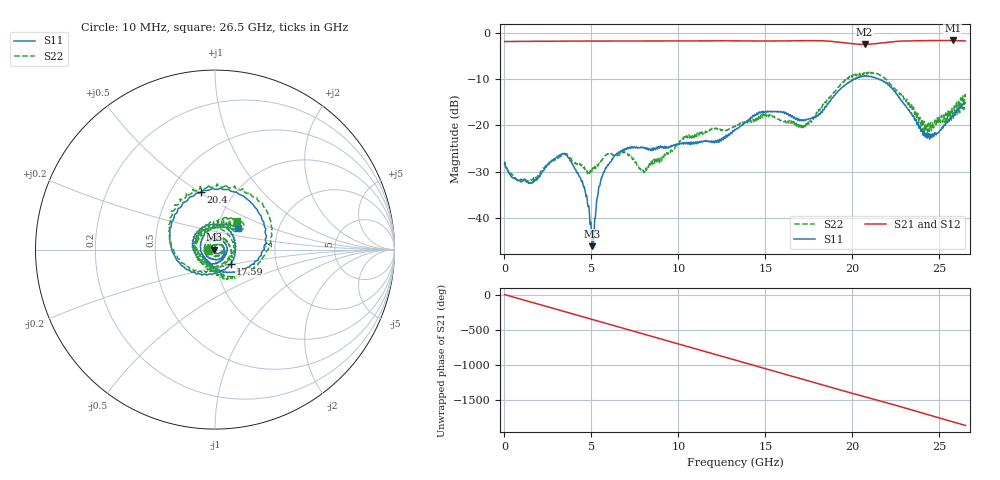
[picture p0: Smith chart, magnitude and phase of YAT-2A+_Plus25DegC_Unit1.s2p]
!Keysight Technologies,N5242A,MY48320679,A.10.49.08
!Date: Tuesday, April 23, 2019 15:10:27
!Correction: S11(Full 2 Port(1,2))
!S21(Full 2 Port(1,2))
!S12(Full 2 Port(1,2))
!S22(Full 2 Port(1,2))
!S2P File: Measurements: S11, S21, S12, S22:
# Hz S  dB  R 50
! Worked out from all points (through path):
!   2650 points, 10 MHz to 26.5 GHz, reference 50 ohm
!   highest |S21| = -1.69 dB at 25.77 GHz (marker M1); lowest = -2.5 dB at 20.7 GHz (marker M2)
!   group delay of S21, straight-line fit = 195 ps
!   lowest |S11| = -46.0 dB at 5.06 GHz (marker M3), VSWR 1.01, Z = 49.5 - j0.00774 ohm
!   |S11| at or under -10 dB: start of sweep to 20.08 GHz; 20.09942 GHz to 20.16518 GHz (65.76 MHz wide, 0.327 % of centre); 21.52 GHz to end of sweep
!   |S22| runs from -32.2 to -8.5 dB; largest |S21 - S12| = 0.0099
!   S11 on the Smith chart (normalised r, x): 10 MHz: 0.93, -0.00; 17.59 GHz: 1.17, -0.19; 20.4 GHz: 0.71, +0.51; 26.5 GHz: 1.26, +0.31
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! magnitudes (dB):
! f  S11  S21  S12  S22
! 10 MHz  -28.3  -1.9  -1.9  -28.3
! 1.52 GHz  -32.4  -1.9  -1.9  -31.8
! 3.44 GHz  -26.1  -1.8  -1.8  -26.1
! 4.43 GHz  -32.1  -1.8  -1.8  -28.6
! 4.73 GHz  -35.2  -1.8  -1.8  -29.7
! 5.06 GHz  -46.0  -1.8  -1.8  -29.4
! 5.54 GHz  -31.8  -1.8  -1.8  -27.7
! 6.3 GHz  -26.7  -1.8  -1.8  -26.4
! 6.96 GHz  -25.1  -1.8  -1.8  -25.9
! 7.95 GHz  -24.7  -1.8  -1.8  -29.8
! 8.84 GHz  -24.6  -1.8  -1.8  -27.1
! 10.36 GHz  -23.7  -1.8  -1.8  -22.5
! 13.26 GHz  -20.9  -1.8  -1.8  -20.3
! 14.76 GHz  -17.0  -1.8  -1.8  -17.7
! 17.59 GHz  -18.5  -1.7  -1.7  -18.9
! 17.67 GHz  -18.5  -1.7  -1.7  -18.9
! 20.4 GHz  -9.7  -2.5  -2.5  -8.9
! 20.7 GHz  -9.3  -2.5  -2.5  -8.9
! 22.09 GHz  -11.2  -2.1  -2.1  -10.6
! 24.31 GHz  -22.8  -1.7  -1.7  -21.9
! 25.77 GHz  -17.8  -1.7  -1.7  -17.1
! 26.5 GHz  -15.1  -1.8  -1.8  -14.0
